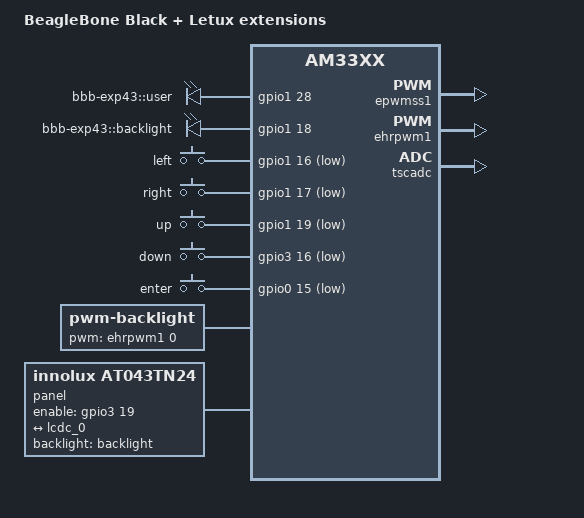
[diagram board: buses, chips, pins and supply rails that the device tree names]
/*
 * Copyright (C) 2014 H. Nikolaus Schaller <hns@goldelico.com>
 *
 * This program is free software; you can redistribute it and/or modify
 * it under the terms of the GNU General Public License version 2 as
 * published by the Free Software Foundation.
 */
/dts-v1/;

#include "am335x-boneblack.dts"
#include <dt-bindings/input/input.h>

// taken from https://github.com/RobertCNelson/dtb-linux-dev/blob/master/src/arm/

#ifndef _DT_BINDINGS_BOARD_AM335X_BBW_BBB_BASE_H
#define _DT_BINDINGS_BOARD_AM335X_BBW_BBB_BASE_H

#define BONE_P8_03 AM335X_PIN_GPMC_AD6
#define BONE_P8_04 AM335X_PIN_GPMC_AD7

#define BONE_P8_05 AM335X_PIN_GPMC_AD2
#define BONE_P8_06 AM335X_PIN_GPMC_AD3
#define BONE_P8_07 AM335X_PIN_GPMC_ADVN_ALE
#define BONE_P8_08 AM335X_PIN_GPMC_OEN_REN

#define BONE_P8_09 AM335X_PIN_GPMC_BEN0_CLE
#define BONE_P8_10 AM335X_PIN_GPMC_WEN
#define BONE_P8_11 AM335X_PIN_GPMC_AD13
#define BONE_P8_12 AM335X_PIN_GPMC_AD12

#define BONE_P8_13 AM335X_PIN_GPMC_AD9
#define BONE_P8_14 AM335X_PIN_GPMC_AD10
#define BONE_P8_15 AM335X_PIN_GPMC_AD15
#define BONE_P8_16 AM335X_PIN_GPMC_AD14

#define BONE_P8_17 AM335X_PIN_GPMC_AD11
#define BONE_P8_18 AM335X_PIN_GPMC_CLK
#define BONE_P8_19 AM335X_PIN_GPMC_AD8
#define BONE_P8_20 AM335X_PIN_GPMC_CSN2

#define BONE_P8_21 AM335X_PIN_GPMC_CSN1
#define BONE_P8_22 AM335X_PIN_GPMC_AD5
#define BONE_P8_23 AM335X_PIN_GPMC_AD4
#define BONE_P8_24 AM335X_PIN_GPMC_AD1

#define BONE_P8_25 AM335X_PIN_GPMC_AD0
#define BONE_P8_26 AM335X_PIN_GPMC_CSN0
#define BONE_P8_27 AM335X_PIN_LCD_VSYNC
#define BONE_P8_28 AM335X_PIN_LCD_PCLK

#define BONE_P8_29 AM335X_PIN_LCD_HSYNC
#define BONE_P8_30 AM335X_PIN_LCD_AC_BIAS_EN
#define BONE_P8_31 AM335X_PIN_LCD_DATA14
#define BONE_P8_32 AM335X_PIN_LCD_DATA15

#define BONE_P8_33 AM335X_PIN_LCD_DATA13
#define BONE_P8_34 AM335X_PIN_LCD_DATA11
#define BONE_P8_35 AM335X_PIN_LCD_DATA12
#define BONE_P8_36 AM335X_PIN_LCD_DATA10

#define BONE_P8_37 AM335X_PIN_LCD_DATA8
#define BONE_P8_38 AM335X_PIN_LCD_DATA9
#define BONE_P8_39 AM335X_PIN_LCD_DATA6
#define BONE_P8_40 AM335X_PIN_LCD_DATA7

#define BONE_P8_41 AM335X_PIN_LCD_DATA4
#define BONE_P8_42 AM335X_PIN_LCD_DATA5
#define BONE_P8_43 AM335X_PIN_LCD_DATA2
#define BONE_P8_44 AM335X_PIN_LCD_DATA3

#define BONE_P8_45 AM335X_PIN_LCD_DATA0
#define BONE_P8_46 AM335X_PIN_LCD_DATA1

#define BONE_P9_11 AM335X_PIN_GPMC_WAIT0
#define BONE_P9_12 AM335X_PIN_GPMC_BEN1

#define BONE_P9_13 AM335X_PIN_GPMC_WPN
#define BONE_P9_14 AM335X_PIN_GPMC_A2
#define BONE_P9_15 AM335X_PIN_GPMC_A0
#define BONE_P9_16 AM335X_PIN_GPMC_A3

#define BONE_P9_17 AM335X_PIN_SPI0_CS0
#define BONE_P9_18 AM335X_PIN_SPI0_D1
#define BONE_P9_19 AM335X_PIN_UART1_RTSN
#define BONE_P9_20 AM335X_PIN_UART1_CTSN

#define BONE_P9_21 AM335X_PIN_SPI0_D0
#define BONE_P9_22 AM335X_PIN_SPI0_SCLK
#define BONE_P9_23 AM335X_PIN_GPMC_A1
#define BONE_P9_24 AM335X_PIN_UART1_TXD

#define BONE_P9_25 AM335X_PIN_MCASP0_AHCLKX
#define BONE_P9_26 AM335X_PIN_UART1_RXD
#define BONE_P9_27 AM335X_PIN_MCASP0_FSR
#define BONE_P9_28 AM335X_PIN_MCASP0_AHCLKR

#define BONE_P9_29 AM335X_PIN_MCASP0_FSX
#define BONE_P9_30 AM335X_PIN_MCASP0_AXR0
#define BONE_P9_31 AM335X_PIN_MCASP0_ACLKX

/* Shared P21 of P11 */
#define BONE_P9_41A AM335X_PIN_XDMA_EVENT_INTR1
#define BONE_P9_41B AM335X_PIN_MCASP0_AXR1

/* Shared P22 of P11 */
#define BONE_P9_42A AM335X_PIN_ECAP0_IN_PWM0_OUT
#define BONE_P9_42B AM335X_PIN_MCASP0_ACLKR

#endif


/ {

	/* overwrite device model */
	model = "BeagleBone Black + Letux extensions";
	compatible = "goldelico,am335x-bone-black+letux", "ti,am335x-bone-black", "ti,am335x-bone", "ti,am33xx";
};

/ {
/*
 * we assume a Chipsee BBB-EXP43 with 4.3 inch panel, resistive touch and some LEDs and Buttons
 * http://www.chipsee.com/index.php/evm/beagleboard/cs-bbb-exp43.html
 */

/*
user LED gpio1_28
buttons: gpio1_16, 1_17, 1_19, 3_16, 0_15  => left/right/up/down/enter
lcd: 16 bit parallel (using 24 bit per pixel)
enable: gpio3_19
backlight: EHRPWM1A
touch: internal to am335x
*/

	gpio-leds {

		compatible = "gpio-leds";

		pinctrl-names = "default";
		pinctrl-0 = <&led_pins>;

		led@user {
			label = "bbb-exp43::user";
			gpios = <&gpio1 28 GPIO_ACTIVE_HIGH>;
			linux,default-trigger = "heartbeat";
			default-state = "on";
		};

		led@backlight {
			label = "bbb-exp43::backlight";
			gpios = <&gpio1 18 GPIO_ACTIVE_HIGH>;
			default-state = "on";
		};
	};

	gpio-keys {
		compatible = "gpio-keys";

		pinctrl-names = "default";
		pinctrl-0 = <&button_pins>;

		left-button {
			label = "left";
			linux,code = <KEY_LEFT>;
			gpios = <&gpio1 16 GPIO_ACTIVE_LOW>;
			gpio-key,wakeup;
		};

		right-button {
			label = "right";
			linux,code = <KEY_RIGHT>;
			gpios = <&gpio1 17 GPIO_ACTIVE_LOW>;
			gpio-key,wakeup;
		};

		up-button {
			label = "up";
			linux,code = <KEY_UP>;
			gpios = <&gpio1 19 GPIO_ACTIVE_LOW>;
			gpio-key,wakeup;
		};

		down-button {
			label = "down";
			linux,code = <KEY_DOWN>;
			gpios = <&gpio3 16 GPIO_ACTIVE_LOW>;
			gpio-key,wakeup;
		};

		enter-button {
			label = "enter";
			linux,code = <KEY_ENTER>;
			gpios = <&gpio0 15 GPIO_ACTIVE_LOW>;
			gpio-key,wakeup;
		};

	};

	backlight: backlight {
		compatible = "pwm-backlight";
		pwms = <&ehrpwm1 0 50000 0>;
		pwm-names = "backlight";
		brightness-levels = <0 1 2 5 10 20 40 60 80 100 150 255>;
		default-brightness-level = <10>;
	};

	panel {
		compatible = "innolux,at043tn24";
		pinctrl-names = "default";
		pinctrl-0 = <&lcd_24bit_pins>;

		backlight= <&backlight>;
		enable-gpios = <&gpio3 19 GPIO_ACTIVE_HIGH>;

		port {
			panel_0: endpoint@0 {
				remote-endpoint = <&lcdc_0>;
			};
		};
	};
};

&epwmss1 {
	status = "okay";
};

&ehrpwm1 {
	status = "okay";
	pinctrl-names = "default";
	pinctrl-0 = <&bb_lcd_pwm_backlight_pins>;
};

&lcdc_0 {
	remote-endpoint = <&panel_0>;
};

&tda19988 {
	status = "disabled";
	/delete-node/ ports;
};

&tscadc {
	status = "okay";

	tsc {
		ti,wires = <4>;
		ti,x-plate-resistance = <600>;
		ti,coordinate-readouts = <5>;
		ti,wire-config = <0x00 0x11 0x22 0x33>;
	};

	adc {
		ti,adc-channels = <4 5 6 7>;
	};
};

&am33xx_pinmux {

	button_pins: pinmux_button_pins {
		pinctrl-single,pins = <
			AM33XX_PADCONF(BONE_P9_15, PIN_INPUT_PULLUP, MUX_MODE7)	/* KEY_LEFT gpmc_a0.gpio1_16 */
			AM33XX_PADCONF(BONE_P9_23, PIN_INPUT_PULLUP, MUX_MODE7)	/* KEY_RIGHT gpmc_a1.gpio1_17 */
			AM33XX_PADCONF(BONE_P9_16, PIN_INPUT_PULLUP, MUX_MODE7)	/* KEY_UP gpmc_a3.gpio1_19 */
			AM33XX_PADCONF(BONE_P9_30, PIN_INPUT_PULLUP, MUX_MODE7)	/* KEY_ENTER gpmc_a2.gpio3_16 */
			AM33XX_PADCONF(BONE_P9_24, PIN_INPUT_PULLUP, MUX_MODE7)	/* KEY_DOWN uart1_txd.gpio0_15 */
		>;
	};

	led_pins: pinmux_led_pins {
		pinctrl-single,pins = <
			AM33XX_PADCONF(BONE_P9_12, PIN_OUTPUT, MUX_MODE7)	/* gpmc_ben1.gpio1_28 */
		>;
	};

	bb_lcd_pwm_backlight_pins: pinmux_bb_lcd_pwm_backlight_pins {
		pinctrl-single,pins = <
			AM33XX_PADCONF(BONE_P9_14, PIN_OUTPUT, MUX_MODE6) /* gpmc_a2.ehrpwm1a */
		>;
	};

	lcd_24bit_pins: pinmux_lcd_18bit_pins {
		pinctrl-single,pins = <
			/* P8_45: lcd_data0.lcd_data0 */
			AM33XX_PADCONF(BONE_P8_45, PIN_OUTPUT, MUX_MODE0)
			/* P8_46: lcd_data1.lcd_data1 */
			AM33XX_PADCONF(BONE_P8_46, PIN_OUTPUT, MUX_MODE0)
			/* P8_43: lcd_data2.lcd_data2 */
			AM33XX_PADCONF(BONE_P8_43, PIN_OUTPUT, MUX_MODE0)
			/* P8_44: lcd_data3.lcd_data3 */
			AM33XX_PADCONF(BONE_P8_44, PIN_OUTPUT, MUX_MODE0)
			/* P8_41: lcd_data4.lcd_data4 */
			AM33XX_PADCONF(BONE_P8_41, PIN_OUTPUT, MUX_MODE0)
			/* P8_42: lcd_data5.lcd_data5 */
			AM33XX_PADCONF(BONE_P8_42, PIN_OUTPUT, MUX_MODE0)
			/* P8_39: lcd_data6.lcd_data6 */
			AM33XX_PADCONF(BONE_P8_39, PIN_OUTPUT, MUX_MODE0)
			/* P8_40: lcd_data7.lcd_data7 */
			AM33XX_PADCONF(BONE_P8_40, PIN_OUTPUT, MUX_MODE0)
			/* P8_37: lcd_data8.lcd_data8 */
			AM33XX_PADCONF(BONE_P8_37, PIN_OUTPUT, MUX_MODE0)
			/* P8_38: lcd_data9.lcd_data9 */
			AM33XX_PADCONF(BONE_P8_38, PIN_OUTPUT, MUX_MODE0)
			/* P8_36: lcd_data10.lcd_data10 */
			AM33XX_PADCONF(BONE_P8_36, PIN_OUTPUT, MUX_MODE0)
			/* P8_34: lcd_data11.lcd_data11 */
			AM33XX_PADCONF(BONE_P8_34, PIN_OUTPUT, MUX_MODE0)
			/* P8_35: lcd_data12.lcd_data12 */
			AM33XX_PADCONF(BONE_P8_35, PIN_OUTPUT, MUX_MODE0)
			/* P8_33: lcd_data13.lcd_data13 */
			AM33XX_PADCONF(BONE_P8_33, PIN_OUTPUT, MUX_MODE0)
			/* P8_31: lcd_data14.lcd_data14 */
			AM33XX_PADCONF(BONE_P8_31, PIN_OUTPUT, MUX_MODE0)
			/* P8_32: lcd_data15.lcd_data15 */
			AM33XX_PADCONF(BONE_P8_32, PIN_OUTPUT, MUX_MODE0)

			/* gpmc_ad15.lcd_data16 */
			AM33XX_PADCONF(BONE_P8_15, PIN_OUTPUT, MUX_MODE1)
			/* gpmc_ad14.lcd_data17 */
			AM33XX_PADCONF(BONE_P8_16, PIN_OUTPUT, MUX_MODE1)
			/* gpmc_ad13.lcd_data18 */
			AM33XX_PADCONF(BONE_P8_11, PIN_OUTPUT, MUX_MODE1)
			/* gpmc_ad12.lcd_data19 */
			AM33XX_PADCONF(BONE_P8_12, PIN_OUTPUT, MUX_MODE1)
			/* gpmc_ad11.lcd_data20 */
			AM33XX_PADCONF(BONE_P8_17, PIN_OUTPUT, MUX_MODE1)
			/* gpmc_ad10.lcd_data21 */
			AM33XX_PADCONF(BONE_P8_14, PIN_OUTPUT, MUX_MODE1)
			/* gpmc_ad9.lcd_data22 */
			AM33XX_PADCONF(BONE_P8_13, PIN_OUTPUT, MUX_MODE1)
			/* gpmc_ad8.lcd_data23 */
			AM33XX_PADCONF(BONE_P8_19, PIN_OUTPUT, MUX_MODE1)

			/* P8_27: lcd_vsync.lcd_vsync */
			AM33XX_PADCONF(BONE_P8_27, PIN_OUTPUT, MUX_MODE0)
			/* P8_29: lcd_hsync.lcd_hsync */
			AM33XX_PADCONF(BONE_P8_29, PIN_OUTPUT, MUX_MODE0)
			/* P8_28: lcd_pclk.lcd_pclk*/
			AM33XX_PADCONF(BONE_P8_28, PIN_OUTPUT, MUX_MODE0)
			/* P8_30: lcd_ac_bias_en.lcd_ac_bias_en */
			AM33XX_PADCONF(BONE_P8_30, PIN_OUTPUT, MUX_MODE0)

			/* P9_27: gpio3_19 */
			AM33XX_PADCONF(BONE_P9_27, PIN_OUTPUT_PULLUP, MUX_MODE7)
		>;
	};
};
